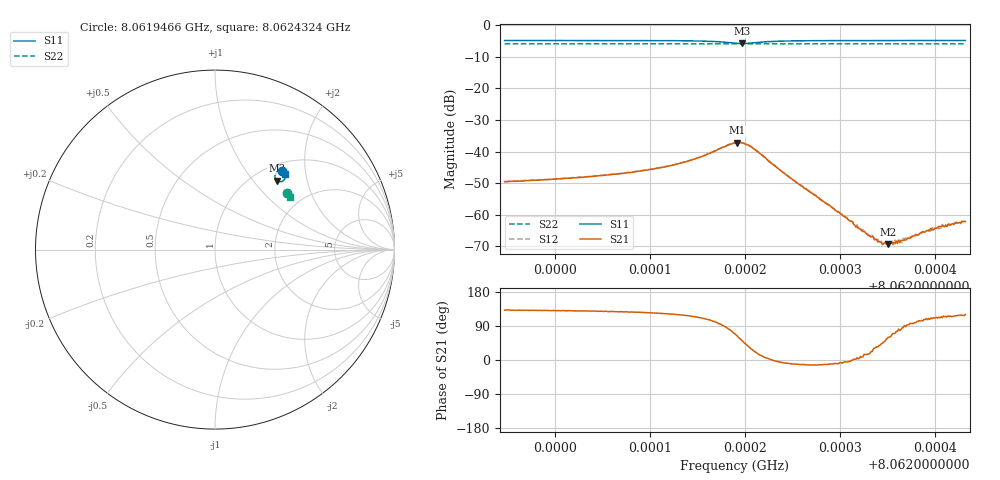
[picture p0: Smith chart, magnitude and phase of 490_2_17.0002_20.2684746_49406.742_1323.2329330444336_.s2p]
#  HZ  S  RI  R  50.00
! Rohde & Schwarz Vector Network Analyzer
! Rohde-Schwarz,ZNB20-2Port,1311601062101988,3.16
! Created: UTC 3/20/2024, 11:14:03 PM
! freq[Hz]  re:S11  im:S11  re:S21  im:S21  re:S12  im:S12  re:S22  im:S22
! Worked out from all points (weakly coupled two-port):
!   401 points, 8.0619466 GHz to 8.0624324 GHz, reference 50 ohm
!   highest |S21| = -37.16 dB at 8.062192 GHz (marker M1); lowest = -69.5 dB at 8.0623511 GHz (marker M2)
!   lowest |S11| = -5.7 dB at 8.0621968 GHz (marker M3), VSWR 3.13, Z = 63.5 + j66.5 ohm
!   |S11| at or under -10 dB: nowhere
!   |S22| runs from -5.9 to -5.8 dB; largest |S21 - S12| = 0.0009
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8.06194664e9  0.3735 0.4386  -0.00219 0.00249  -0.00209 0.00263  0.4019 0.3146
8.06202801e9  0.3797 0.4327  -0.00249 0.00301  -0.00233 0.00318  0.4049 0.3103
8.06207173e9  0.3836 0.4283  -0.00271 0.0036  -0.00253 0.00378  0.4066 0.3079
8.06210938e9  0.3875 0.4222  -0.003 0.0046  -0.00275 0.00479  0.4078 0.3059
8.06214703e9  0.3914 0.4098  -0.00311 0.00696  -0.00272 0.00718  0.4092 0.3035
8.06218954e9  0.3605 0.3779  0.00489 0.0127  0.00575 0.0125  0.4089 0.3006
8.06219196e9  0.3549 0.379  0.00619 0.0124  0.00699 0.012  0.4085 0.3007
8.06219682e9  0.344 0.3846  0.00858 0.0106  0.0091 0.0103  0.4085 0.3006
8.06220897e9  0.3338 0.4101  0.0101 0.00465  0.0105 0.00408  0.4087 0.3013
8.06224176e9  0.3585 0.4352  0.00442 -0.00059  0.00447 -0.000909  0.4113 0.3007
8.06227091e9  0.3706 0.4348  0.00211 -0.000486  0.00211 -0.000637  0.4127 0.2991
8.06231098e9  0.3789 0.4315  0.000789 -5.22e-05  0.000794 -0.000109  0.4144 0.2969
8.06232192e9  0.3805 0.4308  0.000571 9.66e-05  0.000592 3.51e-05  0.4149 0.2961
8.06233892e9  0.3826 0.4294  0.00033 0.00023  0.000354 0.000178  0.4156 0.2954
8.06234621e9  0.3833 0.4289  0.000235 0.000256  0.000249 0.00025  0.416 0.2951
8.06235106e9  0.3839 0.4284  0.000169 0.000292  0.000205 0.000241  0.4159 0.2948
8.06235228e9  0.3841 0.4285  0.000171 0.000301  0.000208 0.000296  0.4159 0.2946
8.06236564e9  0.3855 0.4275  3.77e-05 0.00039  6.8e-05 0.000358  0.4166 0.294
8.06239479e9  0.388 0.4255  -0.000163 0.000525  -0.000158 0.000565  0.4174 0.2924
8.06240572e9  0.3889 0.4249  -0.000237 0.000607  -0.000199 0.000581  0.418 0.2919
8.06242029e9  0.39 0.4241  -0.000308 0.000627  -0.00031 0.000689  0.4185 0.2911
8.06243244e9  0.391 0.4233  -0.000388 0.000674  -0.000344 0.000695  0.419 0.2905
